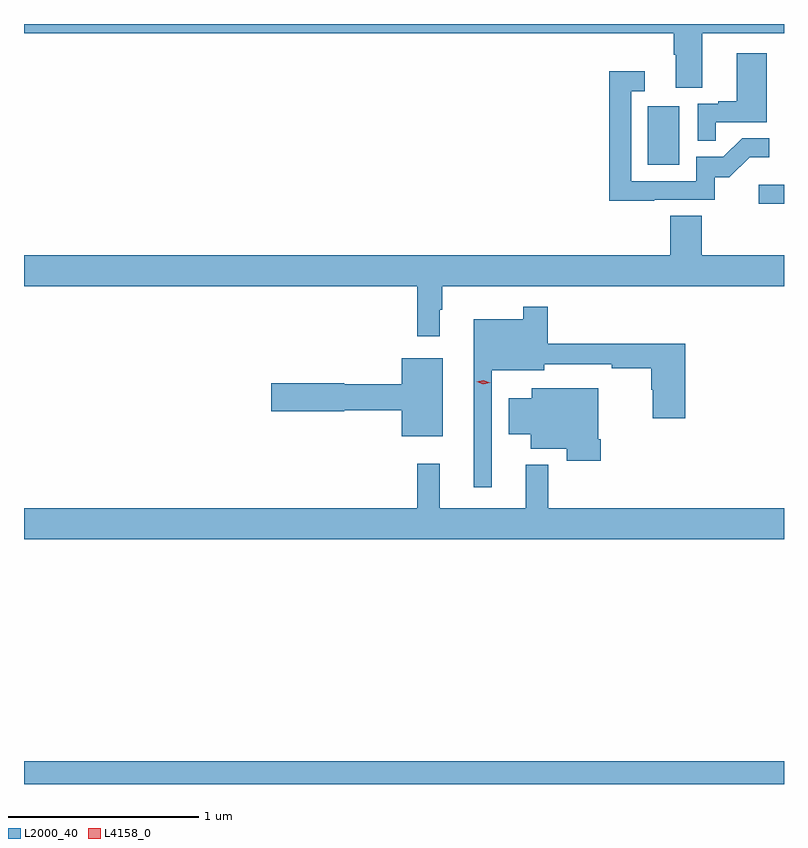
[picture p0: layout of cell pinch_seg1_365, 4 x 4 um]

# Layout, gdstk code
import gdstk
lib = gdstk.Library(unit=1e-6, precision=1e-09)
def R(c, l, rs):  # rectangles x0, y0, x1, y1
    for r in rs: c.add(gdstk.rectangle(r[:2], r[2:], *l))
def P(c, l, *ps):  # polygons
    for p in ps: c.add(gdstk.Polygon(p, *l))
L2000_40 = (2000, 40)
L4158_0 = (4158, 0)

pinch_seg1_365 = lib.new_cell('pinch_seg1_365')
R(pinch_seg1_365, L2000_40, [(962.346,533.129,966.346,533.248), (966.213,536.182,966.346,536.284), (965.63,536.388,965.794,536.695)])
P(pinch_seg1_365, L2000_40, [(962.346,537.08),(965.765,537.08),(965.765,536.968),(965.777,536.968),(965.777,536.794),(965.917,536.794),(965.917,537.08),(966.346,537.08),(966.346,537.129),(962.346,537.129)],
  [(965.987,536.613),(966.256,536.613),(966.256,536.974),(966.098,536.974),(966.098,536.722),(965.999,536.722),(965.999,536.709),(965.892,536.709),(965.892,536.515),(965.987,536.515)],
  [(965.663,536.205),(965.982,536.205),(965.982,536.322),(966.058,536.322),(966.165,536.429),(966.269,536.429),(966.269,536.528),(966.125,536.528),(966.027,536.43),(965.883,536.43),(965.883,536.301),(965.541,536.301),(965.541,536.775),(965.614,536.775),(965.614,536.881),(965.425,536.881),(965.425,536.2),(965.663,536.2)],
  [(964.534,535.625),(964.546,535.625),(964.546,535.748),(966.346,535.748),(966.346,535.912),(965.912,535.912),(965.912,536.12),(965.747,536.12),(965.747,535.912),(962.346,535.912),(962.346,535.748),(964.417,535.748),(964.417,535.485),(964.534,535.485)],
  [(964.809,535.307),(965.083,535.307),(965.083,535.338),(965.44,535.338),(965.44,535.318),(965.647,535.318),(965.647,535.203),(965.654,535.203),(965.654,535.053),(965.825,535.053),(965.825,535.447),(965.102,535.447),(965.102,535.642),(964.974,535.642),(964.974,535.576),(964.712,535.576),(964.712,534.69),(964.809,534.69)],
  [(964.549,535.369),(964.334,535.369),(964.334,535.232),(964.032,535.232),(964.032,535.238),(963.648,535.238),(963.648,535.091),(964.032,535.091),(964.032,535.096),(964.334,535.096),(964.334,534.959),(964.549,534.959)],
  [(965.381,534.943),(965.368,534.943),(965.368,535.213),(965.018,535.213),(965.018,535.159),(964.898,535.159),(964.898,534.971),(965.012,534.971),(965.012,534.893),(965.203,534.893),(965.203,534.831),(965.381,534.831)],
  [(966.346,534.58),(965.105,534.58),(965.105,534.808),(964.988,534.808),(964.988,534.58),(964.535,534.58),(964.535,534.814),(964.417,534.814),(964.417,534.58),(962.346,534.58),(962.346,534.416),(966.346,534.416)])
P(pinch_seg1_365, L4158_0, [(964.763,535.233),(964.728,535.245),(964.728,535.245),(964.728,535.245),(964.764,535.253),(964.799,535.242),(964.799,535.242),(964.799,535.242)])

lib.write_gds('pinch_seg1_365.gds')
